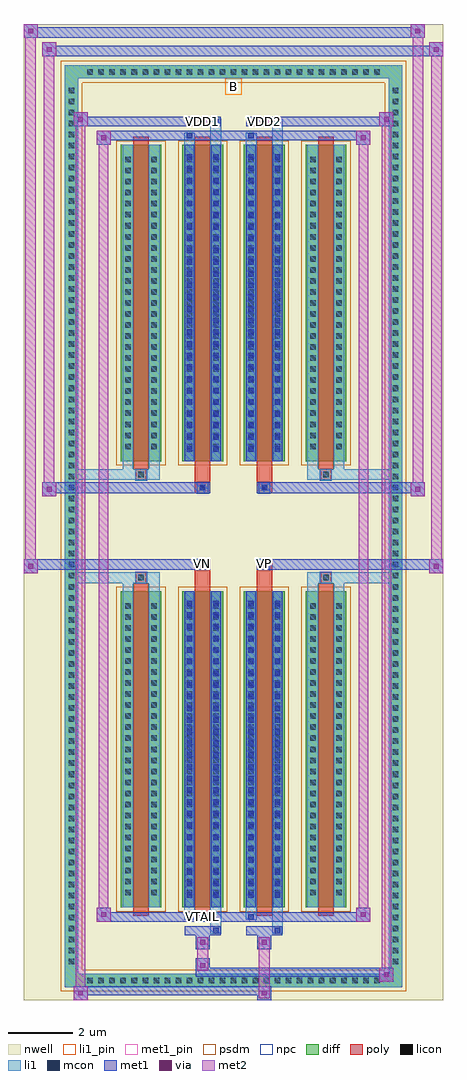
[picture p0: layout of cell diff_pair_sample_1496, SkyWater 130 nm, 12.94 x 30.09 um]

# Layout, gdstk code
import gdstk
lib = gdstk.Library(unit=1e-6, precision=5e-09)
def R(c, l, rs):  # rectangles x0, y0, x1, y1
    for r in rs: c.add(gdstk.rectangle(r[:2], r[2:], *l))
def A(c, l, x, y, w, h, nx, ny, dx, dy):  # array of equal rectangles
    R(c, l, [(x+i*dx, y+j*dy, x+i*dx+w, y+j*dy+h) for i in range(nx) for j in range(ny)])
def P(c, l, *ps):  # polygons
    for p in ps: c.add(gdstk.Polygon(p, *l))
nwell = (64, 20)
diff = (65, 20)
poly = (66, 20)
licon = (66, 44)
li1_pin = (67, 16)
li1 = (67, 20)
mcon = (67, 44)
met1_pin = (68, 16)
met1 = (68, 20)
via = (68, 44)
met2 = (69, 20)
psdm = (94, 20)
npc = (95, 20)

diff_pair_sample_1496 = lib.new_cell('diff_pair_sample_1496')
R(diff_pair_sample_1496, nwell, [(-6.47,-14.61,6.47,15.48), (-3.79,-12.8,-0.01,-0.82), (0.01,-12.8,3.79,-0.82), (-3.79,0.82,-0.01,12.8), (0.01,0.82,3.79,12.8)])
A(diff_pair_sample_1496, diff, -4.625, -14.21, 0.41, 0.41, 27, 2, 0.34, 28.01)
A(diff_pair_sample_1496, diff, -5.2, -13.635, 0.41, 0.41, 1, 80, 0, 0.34)
A(diff_pair_sample_1496, diff, 4.79, -13.635, 0.41, 0.41, 1, 80, 0, 0.34)
A(diff_pair_sample_1496, diff, -3.48, -11.755, 1.26, 9.75, 4, 2, 1.9, 13.76)
R(diff_pair_sample_1496, diff, [(-4.625,-14.21,4.625,-13.8), (-5.2,-13.635,-4.79,13.635), (4.79,-13.635,5.2,13.635), (-4.625,13.8,4.625,14.21)])
P(diff_pair_sample_1496, diff, [(5.2,14.21),(-5.2,14.21),(-5.2,-13.8),(-4.79,-13.8),(-4.79,13.8),(4.79,13.8),(4.79,-13.8),(-4.79,-13.8),(-5.2,-13.8),(-5.2,-14.21),(5.2,-14.21)])
A(diff_pair_sample_1496, poly, -3.09, -12.005, 0.48, 10.25, 4, 2, 1.9, 13.76)
R(diff_pair_sample_1496, poly, [(-3.015,-1.755,-2.685,-1.425), (-3.015,-1.755,-2.685,-1.425), (-1.19,-1.755,-0.71,-1.35), (0.71,-1.755,1.19,-1.35), (2.685,-1.755,3.015,-1.425), (2.685,-1.755,3.015,-1.425), (-1.19,-1.35,-0.71,-1.02), (-1.115,-1.35,-0.785,-1.02), (0.71,-1.35,1.19,-1.02), (0.785,-1.35,1.115,-1.02), (-1.19,1.02,-0.71,1.35), (-1.115,1.02,-0.785,1.35), (0.71,1.02,1.19,1.35), (0.785,1.02,1.115,1.35), (-1.19,1.35,-0.71,1.755), (0.71,1.35,1.19,1.755), (-3.015,1.425,-2.685,1.755), (-3.015,1.425,-2.685,1.755), (2.685,1.425,3.015,1.755), (2.685,1.425,3.015,1.755)])
A(diff_pair_sample_1496, licon, -4.505, -14.09, 0.17, 0.17, 27, 2, 0.34, 28.01)
A(diff_pair_sample_1496, licon, -5.08, -13.515, 0.17, 0.17, 1, 80, 0, 0.34)
A(diff_pair_sample_1496, licon, 4.91, -13.515, 0.17, 0.17, 1, 80, 0, 0.34)
A(diff_pair_sample_1496, licon, -3.34, -11.385, 0.17, 0.17, 1, 27, 0, 0.34)
A(diff_pair_sample_1496, licon, -2.53, -11.385, 0.17, 0.17, 1, 27, 0, 0.34)
A(diff_pair_sample_1496, licon, -1.44, -11.385, 0.17, 0.17, 1, 27, 0, 0.34)
A(diff_pair_sample_1496, licon, -0.63, -11.385, 0.17, 0.17, 1, 27, 0, 0.34)
A(diff_pair_sample_1496, licon, 0.46, -11.385, 0.17, 0.17, 1, 27, 0, 0.34)
A(diff_pair_sample_1496, licon, 1.27, -11.385, 0.17, 0.17, 1, 27, 0, 0.34)
A(diff_pair_sample_1496, licon, 2.36, -11.385, 0.17, 0.17, 1, 27, 0, 0.34)
A(diff_pair_sample_1496, licon, 3.17, -11.385, 0.17, 0.17, 1, 27, 0, 0.34)
A(diff_pair_sample_1496, licon, -3.34, 2.375, 0.17, 0.17, 1, 27, 0, 0.34)
A(diff_pair_sample_1496, licon, -2.53, 2.375, 0.17, 0.17, 1, 27, 0, 0.34)
A(diff_pair_sample_1496, licon, -1.44, 2.375, 0.17, 0.17, 1, 27, 0, 0.34)
A(diff_pair_sample_1496, licon, -0.63, 2.375, 0.17, 0.17, 1, 27, 0, 0.34)
A(diff_pair_sample_1496, licon, 0.46, 2.375, 0.17, 0.17, 1, 27, 0, 0.34)
A(diff_pair_sample_1496, licon, 1.27, 2.375, 0.17, 0.17, 1, 27, 0, 0.34)
A(diff_pair_sample_1496, licon, 2.36, 2.375, 0.17, 0.17, 1, 27, 0, 0.34)
A(diff_pair_sample_1496, licon, 3.17, 2.375, 0.17, 0.17, 1, 27, 0, 0.34)
R(diff_pair_sample_1496, licon, [(-2.935,-1.675,-2.765,-1.505), (2.765,-1.675,2.935,-1.505), (-1.035,-1.27,-0.865,-1.1), (0.865,-1.27,1.035,-1.1), (-1.035,1.1,-0.865,1.27), (0.865,1.1,1.035,1.27), (-2.935,1.505,-2.765,1.675), (2.765,1.505,2.935,1.675)])
R(diff_pair_sample_1496, li1_pin, [(-0.25,13.3,0.25,13.8)])
A(diff_pair_sample_1496, li1, -4.585, -14.17, 0.33, 0.33, 27, 2, 0.34, 28.01)
A(diff_pair_sample_1496, li1, -5.16, -13.595, 0.33, 0.33, 1, 80, 0, 0.34)
A(diff_pair_sample_1496, li1, 4.83, -13.595, 0.33, 0.33, 1, 80, 0, 0.34)
A(diff_pair_sample_1496, li1, -3.42, -11.465, 0.33, 0.33, 1, 27, 0, 0.34)
A(diff_pair_sample_1496, li1, -2.61, -11.465, 0.33, 0.33, 1, 27, 0, 0.34)
A(diff_pair_sample_1496, li1, -1.52, -11.465, 0.33, 0.33, 1, 27, 0, 0.34)
A(diff_pair_sample_1496, li1, -1.44, -11.465, 0.17, 0.17, 1, 26, 0, 0.36)
A(diff_pair_sample_1496, li1, -0.71, -11.465, 0.33, 0.33, 1, 27, 0, 0.34)
A(diff_pair_sample_1496, li1, -0.63, -11.465, 0.17, 0.17, 1, 26, 0, 0.36)
A(diff_pair_sample_1496, li1, 0.38, -11.465, 0.33, 0.33, 1, 27, 0, 0.34)
A(diff_pair_sample_1496, li1, 0.46, -11.465, 0.17, 0.17, 1, 26, 0, 0.36)
A(diff_pair_sample_1496, li1, 1.19, -11.465, 0.33, 0.33, 1, 27, 0, 0.34)
A(diff_pair_sample_1496, li1, 1.27, -11.465, 0.17, 0.17, 1, 26, 0, 0.36)
A(diff_pair_sample_1496, li1, 2.28, -11.465, 0.33, 0.33, 1, 27, 0, 0.34)
A(diff_pair_sample_1496, li1, 3.09, -11.465, 0.33, 0.33, 1, 27, 0, 0.34)
A(diff_pair_sample_1496, li1, -3.42, 2.295, 0.33, 0.33, 1, 27, 0, 0.34)
A(diff_pair_sample_1496, li1, -2.61, 2.295, 0.33, 0.33, 1, 27, 0, 0.34)
A(diff_pair_sample_1496, li1, -1.52, 2.295, 0.33, 0.33, 1, 27, 0, 0.34)
A(diff_pair_sample_1496, li1, -1.44, 2.295, 0.17, 0.17, 1, 26, 0, 0.36)
A(diff_pair_sample_1496, li1, -0.71, 2.295, 0.33, 0.33, 1, 27, 0, 0.34)
A(diff_pair_sample_1496, li1, -0.63, 2.295, 0.17, 0.17, 1, 26, 0, 0.36)
A(diff_pair_sample_1496, li1, 0.38, 2.295, 0.33, 0.33, 1, 27, 0, 0.34)
A(diff_pair_sample_1496, li1, 0.46, 2.295, 0.17, 0.17, 1, 26, 0, 0.36)
A(diff_pair_sample_1496, li1, 1.19, 2.295, 0.33, 0.33, 1, 27, 0, 0.34)
A(diff_pair_sample_1496, li1, 1.27, 2.295, 0.17, 0.17, 1, 26, 0, 0.36)
A(diff_pair_sample_1496, li1, 2.28, 2.295, 0.33, 0.33, 1, 27, 0, 0.34)
A(diff_pair_sample_1496, li1, 3.09, 2.295, 0.33, 0.33, 1, 27, 0, 0.34)
R(diff_pair_sample_1496, li1, [(-5.2,-14.21,-4.79,-13.8), (-5.2,-14.21,-4.79,-13.8), (-4.79,-14.21,4.79,-13.8), (4.79,-14.21,5.2,-13.8), (4.79,-14.21,5.2,-13.8), (-5.2,-13.8,-4.79,13.8), (4.79,-13.8,5.2,13.8), (-0.71,-12.56,-0.38,-11.755), (-0.63,-12.56,-0.46,-12.39), (1.19,-12.56,1.52,-11.755), (1.27,-12.56,1.44,-12.39), (-1.52,-12.13,-1.19,-11.755), (-1.44,-12.13,-1.27,-11.96), (0.38,-12.13,0.71,-11.755), (0.46,-12.13,0.63,-11.96), (-3.42,-11.755,-3.09,-2.005), (-2.61,-11.755,-2.28,-2.005), (-1.52,-11.755,-1.19,-2.005), (-0.71,-11.755,-0.38,-2.005), (0.38,-11.755,0.71,-2.005), (1.19,-11.755,1.52,-2.005), (2.28,-11.755,2.61,-2.005), (3.09,-11.755,3.42,-2.005), (-1.44,-11.465,-1.27,-2.295), (-0.63,-11.465,-0.46,-2.295), (0.46,-11.465,0.63,-2.295), (1.27,-11.465,1.44,-2.295), (-3.42,-2.005,-3.09,-1.425), (-2.61,-2.005,-2.28,-1.425), (2.28,-2.005,2.61,-1.425), (3.09,-2.005,3.42,-1.425), (-5.2,-1.755,-3.015,-1.425), (-3.42,-1.755,-3.015,-1.425), (-3.015,-1.755,-2.685,-1.425), (-2.685,-1.755,-2.28,-1.425), (2.28,-1.755,2.685,-1.425), (2.685,-1.755,3.015,-1.425), (2.685,-1.755,5.2,-1.425), (3.015,-1.755,3.42,-1.425), (-1.115,-1.35,-0.785,-1.02), (0.785,-1.35,1.115,-1.02), (-1.115,1.02,-0.785,1.35), (0.785,1.02,1.115,1.35), (-5.2,1.425,-3.015,1.755), (-3.42,1.425,-3.015,1.755), (-3.42,1.425,-3.09,2.005), (-3.015,1.425,-2.685,1.755), (-2.685,1.425,-2.28,1.755), (-2.61,1.425,-2.28,2.005), (2.28,1.425,2.685,1.755), (2.28,1.425,2.61,2.005), (2.685,1.425,3.015,1.755), (2.685,1.425,5.2,1.755), (3.015,1.425,3.42,1.755), (3.09,1.425,3.42,2.005), (-3.42,2.005,-3.09,11.755), (-2.61,2.005,-2.28,11.755), (-1.52,2.005,-1.19,11.755), (-0.71,2.005,-0.38,11.755), (0.38,2.005,0.71,11.755), (1.19,2.005,1.52,11.755), (2.28,2.005,2.61,11.755), (3.09,2.005,3.42,11.755), (-1.44,2.295,-1.27,11.465), (-0.63,2.295,-0.46,11.465), (0.46,2.295,0.63,11.465), (1.27,2.295,1.44,11.465), (-1.52,11.755,-1.19,12.13), (-0.71,11.755,-0.38,12.56), (0.38,11.755,0.71,12.13), (1.19,11.755,1.52,12.56), (-1.44,11.96,-1.27,12.13), (0.46,11.96,0.63,12.13), (-0.63,12.39,-0.46,12.56), (1.27,12.39,1.44,12.56), (-5.2,13.8,-4.79,14.21), (-5.2,13.8,-4.79,14.21), (-4.79,13.8,4.79,14.21), (4.79,13.8,5.2,14.21), (4.79,13.8,5.2,14.21)])
A(diff_pair_sample_1496, mcon, -1.44, -11.465, 0.17, 0.17, 1, 26, 0, 0.36)
A(diff_pair_sample_1496, mcon, -0.63, -11.465, 0.17, 0.17, 1, 26, 0, 0.36)
A(diff_pair_sample_1496, mcon, 0.46, -11.465, 0.17, 0.17, 1, 26, 0, 0.36)
A(diff_pair_sample_1496, mcon, 1.27, -11.465, 0.17, 0.17, 1, 26, 0, 0.36)
A(diff_pair_sample_1496, mcon, -1.44, 2.295, 0.17, 0.17, 1, 26, 0, 0.36)
A(diff_pair_sample_1496, mcon, -0.63, 2.295, 0.17, 0.17, 1, 26, 0, 0.36)
A(diff_pair_sample_1496, mcon, 0.46, 2.295, 0.17, 0.17, 1, 26, 0, 0.36)
A(diff_pair_sample_1496, mcon, 1.27, 2.295, 0.17, 0.17, 1, 26, 0, 0.36)
R(diff_pair_sample_1496, mcon, [(-0.63,-12.56,-0.46,-12.39), (1.27,-12.56,1.44,-12.39), (-1.44,-12.13,-1.27,-11.96), (0.46,-12.13,0.63,-11.96), (-1.035,-1.27,-0.865,-1.1), (0.865,-1.27,1.035,-1.1), (-1.035,1.1,-0.865,1.27), (0.865,1.1,1.035,1.27), (-1.44,11.96,-1.27,12.13), (0.46,11.96,0.63,12.13), (-0.63,12.39,-0.46,12.56), (1.27,12.39,1.44,12.56)])
R(diff_pair_sample_1496, met1_pin, [(-1.085,-12.17,-0.815,-11.9), (-1.085,-1.29,-0.815,-1.02), (0.815,-1.29,1.085,-1.02), (-1.085,12.35,-0.815,12.62), (0.815,12.35,1.085,12.62)])
A(diff_pair_sample_1496, met1, -1.5, -11.525, 0.29, 0.29, 1, 26, 0, 0.36)
A(diff_pair_sample_1496, met1, -0.69, -11.525, 0.29, 0.29, 1, 26, 0, 0.36)
A(diff_pair_sample_1496, met1, 0.4, -11.525, 0.29, 0.29, 1, 26, 0, 0.36)
A(diff_pair_sample_1496, met1, 1.21, -11.525, 0.29, 0.29, 1, 26, 0, 0.36)
A(diff_pair_sample_1496, met1, -1.5, 2.235, 0.29, 0.29, 1, 26, 0, 0.36)
A(diff_pair_sample_1496, met1, -0.69, 2.235, 0.29, 0.29, 1, 26, 0, 0.36)
A(diff_pair_sample_1496, met1, 0.4, 2.235, 0.29, 0.29, 1, 26, 0, 0.36)
A(diff_pair_sample_1496, met1, 1.21, 2.235, 0.29, 0.29, 1, 26, 0, 0.36)
R(diff_pair_sample_1496, met1, [(-4.93,-14.61,-4.5,-14.18), (0.735,-14.61,1.165,-14.18), (-4.93,-14.47,1.165,-14.18), (4.5,-14.04,4.93,-13.61), (-1.165,-13.9,4.93,-13.61), (-1.165,-13.76,-0.735,-13.33), (-1.165,-13.05,-0.735,-12.62), (0.735,-13.05,1.165,-12.62), (-1.5,-12.62,-0.4,-12.33), (-0.69,-12.62,-0.4,-12.33), (0.4,-12.62,1.5,-12.33), (1.21,-12.62,1.5,-12.33), (-4.22,-12.19,-3.79,-11.76), (-4.22,-12.19,-1.5,-11.9), (-1.5,-12.19,-1.21,-11.9), (-1.5,-12.19,-0.4,-11.9), (-0.4,-12.19,0.4,-11.9), (0.4,-12.19,0.69,-11.9), (0.4,-12.19,1.5,-11.9), (1.5,-12.19,4.22,-11.9), (3.79,-12.19,4.22,-11.76), (-1.5,-11.755,-1.21,-2.005), (-0.69,-11.755,-0.4,-2.005), (0.4,-11.755,0.69,-2.005), (1.21,-11.755,1.5,-2.005), (-6.47,-1.45,-6.04,-1.02), (6.04,-1.45,6.47,-1.02), (-6.47,-1.35,-0.71,-1.02), (-1.19,-1.35,-0.71,-1.02), (0.71,-1.35,1.19,-1.02), (0.71,-1.35,6.47,-1.02), (-1.095,-1.33,-0.805,-1.04), (0.805,-1.33,1.095,-1.04), (-5.9,0.92,-5.47,1.35), (5.47,0.92,5.9,1.35), (-5.9,1.02,-1.19,1.35), (-1.19,1.02,-0.71,1.35), (0.71,1.02,1.19,1.35), (1.19,1.02,5.9,1.35), (-1.095,1.04,-0.805,1.33), (0.805,1.04,1.095,1.33), (-1.5,2.005,-1.21,11.755), (-0.69,2.005,-0.4,11.755), (0.4,2.005,0.69,11.755), (1.21,2.005,1.5,11.755), (-4.22,11.76,-3.79,12.19), (3.79,11.76,4.22,12.19), (-4.22,11.9,-1.5,12.19), (-1.5,11.9,-1.21,12.19), (-1.5,11.9,-0.4,12.19), (-0.4,11.9,0.4,12.19), (0.4,11.9,0.69,12.19), (0.4,11.9,1.5,12.19), (1.5,11.9,4.22,12.19), (-4.93,12.33,-4.5,12.76), (-4.93,12.33,-1.5,12.62), (-1.5,12.33,-0.4,12.62), (-0.69,12.33,-0.4,12.62), (0.4,12.33,1.5,12.62), (1.21,12.33,1.5,12.62), (1.5,12.33,4.93,12.62), (4.5,12.33,4.93,12.76), (-5.9,14.48,-5.47,14.91), (-5.9,14.48,-3.79,14.81), (-3.79,14.48,3.79,14.81), (3.79,14.48,6.47,14.81), (6.04,14.48,6.47,14.91), (-6.47,15.05,-6.04,15.48), (-6.47,15.05,-3.79,15.38), (-3.79,15.05,3.79,15.38), (3.79,15.05,5.9,15.38), (5.47,15.05,5.9,15.48)])
R(diff_pair_sample_1496, via, [(-4.79,-14.47,-4.64,-14.32), (0.875,-14.47,1.025,-14.32), (4.64,-13.9,4.79,-13.75), (-1.025,-13.62,-0.875,-13.47), (-1.025,-12.91,-0.875,-12.76), (0.875,-12.91,1.025,-12.76), (-4.08,-12.05,-3.93,-11.9), (3.93,-12.05,4.08,-11.9), (-6.33,-1.31,-6.18,-1.16), (6.18,-1.31,6.33,-1.16), (-5.76,1.06,-5.61,1.21), (5.61,1.06,5.76,1.21), (-4.08,11.9,-3.93,12.05), (3.93,11.9,4.08,12.05), (-4.79,12.47,-4.64,12.62), (4.64,12.47,4.79,12.62), (-5.76,14.62,-5.61,14.77), (6.18,14.62,6.33,14.77), (-6.33,15.19,-6.18,15.34), (5.61,15.19,5.76,15.34)])
R(diff_pair_sample_1496, met2, [(-4.93,-14.61,-4.5,-14.18), (-4.86,-14.61,-4.57,12.76), (-4.57,-14.61,-4.5,-14.18), (-4.88,-14.56,-4.55,-14.23), (0.785,-14.56,1.115,-14.23), (0.785,-14.23,1.115,-13), (4.5,-14.04,4.93,-13.61), (4.57,-14.04,4.86,12.76), (4.86,-14.04,4.93,-13.61), (4.55,-13.99,4.88,-13.66), (-1.115,-13.71,-0.785,-13.38), (-1.115,-13.38,-0.785,-13), (-1.115,-13,-0.785,-12.67), (0.785,-13,1.115,-12.67), (-4.22,-12.19,-3.79,-11.76), (-4.15,-12.19,-3.86,12.19), (-3.86,-12.19,-3.79,-11.76), (3.79,-12.19,4.22,-11.76), (3.86,-12.19,4.15,12.19), (4.15,-12.19,4.22,-11.76), (-4.17,-12.14,-3.84,-11.81), (3.84,-12.14,4.17,-11.81), (-6.47,-1.45,-6.04,-1.02), (-6.42,-1.45,-6.09,15.48), (-6.09,-1.45,-6.04,-1.02), (6.04,-1.45,6.47,-1.02), (6.09,-1.45,6.42,14.91), (6.42,-1.45,6.47,-1.02), (-6.42,-1.4,-6.09,-1.07), (6.09,-1.4,6.42,-1.07), (-5.9,0.92,-5.47,1.35), (-5.85,0.92,-5.52,14.91), (-5.52,0.92,-5.47,1.35), (5.47,0.92,5.9,1.35), (5.52,0.92,5.85,15.48), (5.85,0.92,5.9,1.35), (-5.85,0.97,-5.52,1.3), (5.52,0.97,5.85,1.3), (-4.22,11.76,-3.79,12.19), (-3.86,11.76,-3.79,12.19), (3.79,11.76,4.22,12.19), (4.15,11.76,4.22,12.19), (-4.17,11.81,-3.84,12.14), (3.84,11.81,4.17,12.14), (-4.93,12.33,-4.5,12.76), (-4.57,12.33,-4.5,12.76), (4.5,12.33,4.93,12.76), (4.86,12.33,4.93,12.76), (-4.88,12.38,-4.55,12.71), (4.55,12.38,4.88,12.71), (-5.9,14.48,-5.47,14.91), (-5.52,14.48,-5.47,14.91), (6.04,14.48,6.47,14.91), (6.42,14.48,6.47,14.91), (-5.85,14.53,-5.52,14.86), (6.09,14.53,6.42,14.86), (-6.47,15.05,-6.04,15.48), (-6.09,15.05,-6.04,15.48), (5.47,15.05,5.9,15.48), (5.85,15.05,5.9,15.48), (-6.42,15.1,-6.09,15.43), (5.52,15.1,5.85,15.43)])
A(diff_pair_sample_1496, psdm, -3.61, -11.885, 1.52, 10.01, 4, 2, 1.9, 13.76)
P(diff_pair_sample_1496, psdm, [(5.33,14.34),(-5.33,14.34),(-5.33,-13.67),(-4.66,-13.67),(-4.66,13.67),(4.66,13.67),(4.66,-13.67),(-4.66,-13.67),(-5.33,-13.67),(-5.33,-14.34),(5.33,-14.34)])
R(diff_pair_sample_1496, npc, [(-3.035,-1.775,-2.665,-1.405), (2.665,-1.775,3.035,-1.405), (-1.135,-1.37,-0.765,-1), (0.765,-1.37,1.135,-1), (-1.135,1,-0.765,1.37), (0.765,1,1.135,1.37), (-3.035,1.405,-2.665,1.775), (2.665,1.405,3.035,1.775)])
diff_pair_sample_1496.add(gdstk.Label('VTAIL', (-0.95,-12.035), layer=68, texttype=5))
diff_pair_sample_1496.add(gdstk.Label('VN', (-0.95,-1.155), layer=68, texttype=5))
diff_pair_sample_1496.add(gdstk.Label('VP', (0.95,-1.155), layer=68, texttype=5))
diff_pair_sample_1496.add(gdstk.Label('B', (0,13.55), layer=67, texttype=5))
diff_pair_sample_1496.add(gdstk.Label('VDD2', (0.95,12.485), layer=68, texttype=5))
diff_pair_sample_1496.add(gdstk.Label('VDD1', (-0.95,12.485), layer=68, texttype=5))

lib.write_gds('diff_pair_sample_1496.gds')
